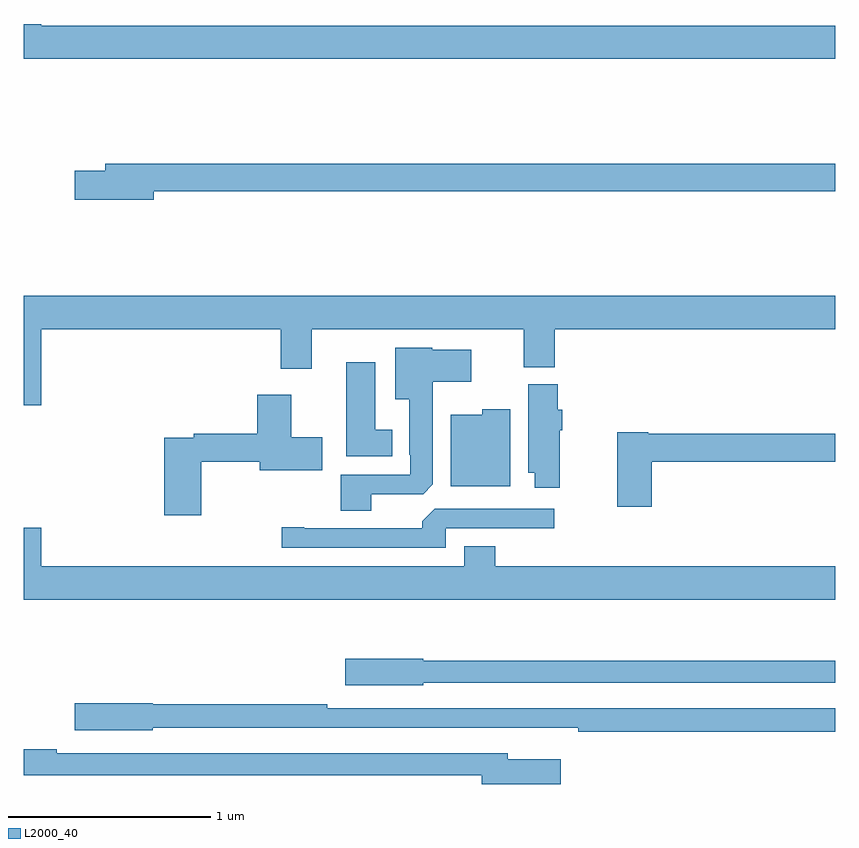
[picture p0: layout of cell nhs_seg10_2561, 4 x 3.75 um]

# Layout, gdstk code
import gdstk
lib = gdstk.Library(unit=1e-6, precision=1e-09)
def P(c, l, *ps):  # polygons
    for p in ps: c.add(gdstk.Polygon(p, *l))
L2000_40 = (2000, 40)

nhs_seg10_2561 = lib.new_cell('nhs_seg10_2561')
P(nhs_seg10_2561, L2000_40, [(253,1288.492),(249.088,1288.492),(249.088,1288.5),(249,1288.5),(249,1288.328),(253,1288.328)],
  [(249.64,1287.676),(253,1287.676),(253,1287.812),(249.401,1287.812),(249.401,1287.776),(249.252,1287.776),(249.252,1287.634),(249.64,1287.634)],
  [(249.088,1286.996),(250.268,1286.996),(250.268,1286.802),(250.42,1286.802),(250.42,1286.996),(251.465,1286.996),(251.465,1286.809),(251.618,1286.809),(251.618,1286.996),(253,1286.996),(253,1287.16),(249,1287.16),(249,1286.622),(249.088,1286.622)],
  [(250.714,1286.184),(250.968,1286.184),(251.017,1286.233),(251.017,1286.738),(251.206,1286.738),(251.206,1286.896),(251.013,1286.896),(251.013,1286.905),(250.832,1286.905),(250.832,1286.651),(250.901,1286.651),(250.901,1286.377),(250.905,1286.377),(250.905,1286.28),(250.562,1286.28),(250.562,1286.101),(250.714,1286.101)],
  [(250.816,1286.5),(250.732,1286.5),(250.732,1286.833),(250.589,1286.833),(250.589,1286.369),(250.816,1286.369)],
  [(251.641,1286.498),(251.654,1286.498),(251.654,1286.598),(251.633,1286.598),(251.633,1286.724),(251.486,1286.724),(251.486,1286.288),(251.519,1286.288),(251.519,1286.214),(251.641,1286.214)],
  [(249.875,1286.344),(250.163,1286.344),(250.163,1286.3),(250.471,1286.3),(250.471,1286.463),(250.318,1286.463),(250.318,1286.674),(250.151,1286.674),(250.151,1286.48),(249.838,1286.48),(249.838,1286.46),(249.692,1286.46),(249.692,1286.079),(249.875,1286.079)],
  [(251.398,1286.602),(251.259,1286.602),(251.259,1286.575),(251.105,1286.575),(251.105,1286.222),(251.398,1286.222)],
  [(252.095,1286.344),(253,1286.344),(253,1286.48),(252.078,1286.48),(252.078,1286.488),(251.924,1286.488),(251.924,1286.121),(252.095,1286.121)],
  [(251.079,1286.016),(251.614,1286.016),(251.614,1286.112),(251.025,1286.112),(250.964,1286.05),(250.964,1286.016),(250.384,1286.016),(250.384,1286.021),(250.272,1286.021),(250.272,1285.92),(251.079,1285.92)],
  [(253,1285.828),(251.324,1285.828),(251.324,1285.927),(251.171,1285.927),(251.171,1285.828),(249.088,1285.828),(249.088,1286.017),(249,1286.017),(249,1285.664),(253,1285.664)],
  [(250.968,1285.254),(253,1285.254),(253,1285.363),(250.968,1285.363),(250.968,1285.371),(250.584,1285.371),(250.584,1285.241),(250.968,1285.241)],
  [(253,1285.128),(250.496,1285.128),(250.496,1285.148),(249.636,1285.148),(249.636,1285.154),(249.252,1285.154),(249.252,1285.019),(249.636,1285.019),(249.636,1285.032),(251.482,1285.032),(251.482,1285.031),(251.734,1285.031),(251.734,1285.012),(253,1285.012)],
  [(251.647,1284.877),(251.386,1284.877),(251.386,1284.906),(249.164,1284.906),(249.164,1284.926),(249,1284.926),(249,1284.798),(251.258,1284.798),(251.258,1284.755),(251.647,1284.755)])

lib.write_gds('nhs_seg10_2561.gds')
